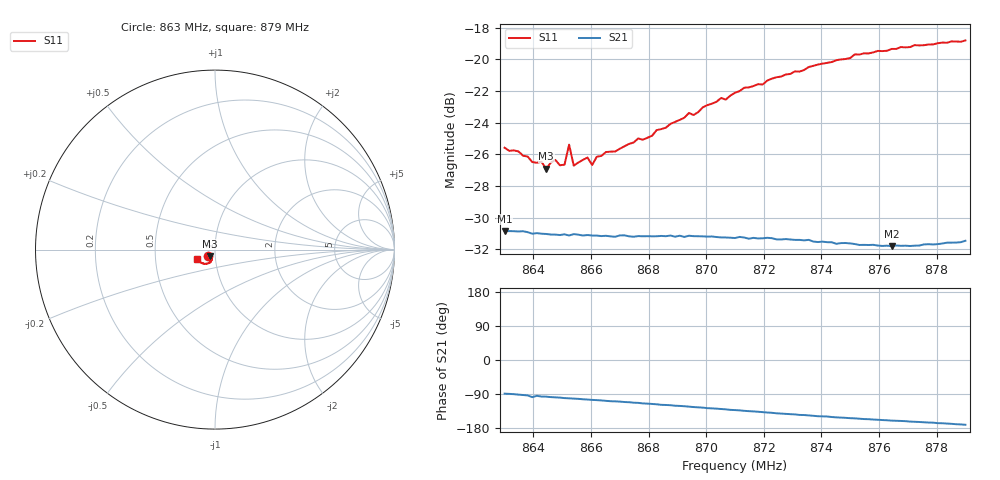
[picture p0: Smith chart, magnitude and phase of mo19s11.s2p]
# HZ S RI R 50
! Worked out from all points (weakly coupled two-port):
!   101 points, 863 MHz to 879 MHz, reference 50 ohm
!   highest |S21| = -30.85 dB at 863 MHz (marker M1); lowest = -31.8 dB at 876.44 MHz (marker M2)
!   lowest |S11| = -26.9 dB at 864.44 MHz (marker M3), VSWR 1.09, Z = 47.2 - j3.35 ohm
!   |S11| at or under -10 dB: start of sweep to end of sweep
!   S12 and S22 are empty: the file has one direction only
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8.63e8  -0.0394 -0.0348  0.000594 -0.0287  0 0  0 0
8.6348e8  -0.0363 -0.0361  -0.000674 -0.0286  0 0  0 0
8.6396e8  -0.0317 -0.0352  -0.00394 -0.0279  0 0  0 0
8.6428e8  -0.0305 -0.0364  -0.00315 -0.028  0 0  0 0
8.6444e8  -0.0279 -0.0354  -0.00326 -0.0279  0 0  0 0
8.6476e8  -0.0282 -0.039  -0.00418 -0.0276  0 0  0 0
8.6492e8  -0.0262 -0.0381  -0.00445 -0.0275  0 0  0 0
8.6508e8  -0.0259 -0.0386  -0.00512 -0.0275  0 0  0 0
8.6524e8  -0.0331 -0.0423  -0.00535 -0.0272  0 0  0 0
8.654e8  -0.0226 -0.0402  -0.00577 -0.0274  0 0  0 0
8.6572e8  -0.0233 -0.0421  -0.00655 -0.027  0 0  0 0
8.6588e8  -0.023 -0.0432  -0.00689 -0.027  0 0  0 0
8.6604e8  -0.021 -0.0413  -0.00732 -0.0268  0 0  0 0
8.662e8  -0.0219 -0.0441  -0.00759 -0.0267  0 0  0 0
8.6764e8  -0.0197 -0.0526  -0.0109 -0.0254  0 0  0 0
8.6812e8  -0.0179 -0.0544  -0.0121 -0.0248  0 0  0 0
8.6844e8  -0.0194 -0.057  -0.0131 -0.0244  0 0  0 0
8.71e8  -0.0295 -0.0726  -0.0183 -0.0202  0 0  0 0
8.7372e8  -0.0521 -0.0798  -0.0223 -0.0144  0 0  0 0
8.7516e8  -0.0684 -0.0778  -0.0235 -0.0114  0 0  0 0
8.7644e8  -0.0806 -0.0715  -0.0241 -0.0088  0 0  0 0
8.79e8  -0.103 -0.0503  -0.0264 -0.00422  0 0  0 0
